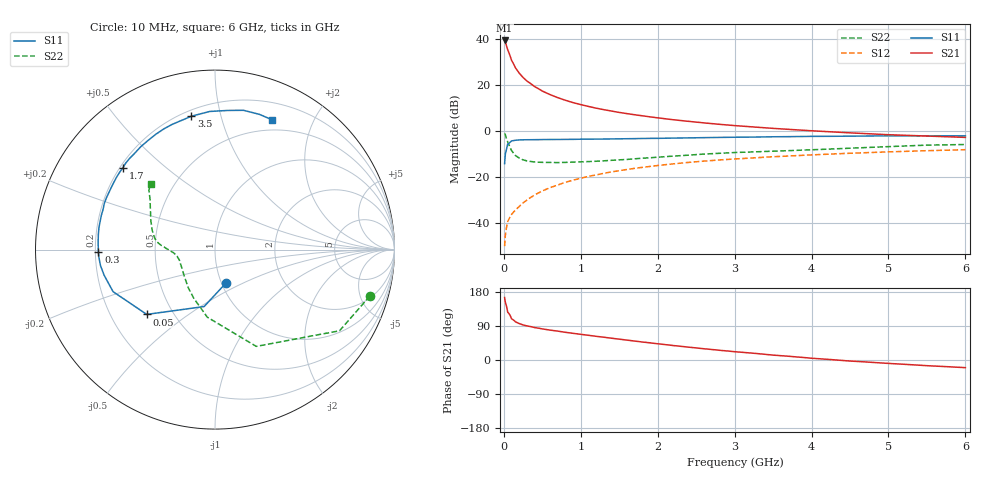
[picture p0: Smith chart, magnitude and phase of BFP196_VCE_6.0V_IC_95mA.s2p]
! Infineon Technologies  Discrete & RF Semiconductors
! BFP196
! VCE =  6.0 V,  IC =  95 mA
! Common Emitter S-Parameters:  Jan 2017
# GHz  S  MA  R  50
!  f  S11  S21  S12  S22
! GHz  MAG  ANG  MAG  ANG  MAG  ANG  MAG  ANG
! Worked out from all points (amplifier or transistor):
!   77 points, 10 MHz to 6 GHz, reference 50 ohm
!   highest |S21| = 39.6 dB at 10 MHz (marker M1)
!   |S21| within 3 dB of that: start of sweep to 40.08 MHz
!   unconditionally stable (mu >= 1): 425.7 MHz to 2.419 GHz
!   at 130 MHz: K = 0.74, MSG = 32.1 dB, |S12| = -35.1 dB
!   at 2.2 GHz: K = 1.01, MAG = 9.0 dB, |S12| = -14.3 dB
!   at 6 GHz: K = 0.95, MSG = 2.7 dB, |S12| = -8.1 dB
!   S11 on the Smith chart (normalised r, x): 10 MHz: 1.05, -0.41; 50 MHz: 0.36, -0.35; 300 MHz: 0.21, -0.01; 1.7 GHz: 0.21, +0.36; 3.5 GHz: 0.23, +0.81; 6 GHz: 0.38, +1.47
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0.01  0.1963 -72.0  95.2 165.0  0.0031 74.8  0.9007 -16.7
0.02  0.3229 -100.8  88.03 152.0  0.0054 71.3  0.8283 -33.1
0.05  0.5244 -136.5  59.73 126.3  0.0106 55.6  0.5862 -66.9
0.1  0.6144 -157.6  35.12 108.7  0.0152 59.4  0.3794 -96.4
0.15  0.634 -167.0  24.24 100.9  0.019 61.0  0.296 -113.5
0.2  0.6441 -172.0  18.43 96.1  0.0228 63.9  0.2589 -125.3
0.25  0.6482 -176.1  14.82 92.5  0.0273 66.0  0.237 -133.4
0.3  0.65 -178.9  12.4 90.0  0.0314 67.4  0.2245 -140.2
0.4  0.6522 176.5  9.371 85.6  0.0405 69.7  0.2128 -149.0
0.5  0.6555 172.5  7.501 82.1  0.0496 69.9  0.2087 -155.2
0.6  0.6581 169.2  6.279 78.9  0.0585 69.6  0.2079 -159.7
0.7  0.6589 166.4  5.388 76.2  0.0669 69.9  0.2067 -163.1
0.8  0.6613 163.3  4.723 73.1  0.0767 69.4  0.2084 -165.6
1.1  0.6702 154.6  3.461 65.2  0.1035 66.0  0.2172 -171.3
1.4  0.6767 146.4  2.746 57.5  0.1295 62.3  0.2313 -175.5
1.7  0.687 138.4  2.28 50.0  0.1545 58.1  0.2495 -178.3
2.1  0.7015 128.3  1.864 40.6  0.1856 52.3  0.2779 177.8
3.1  0.7392 107.2  1.286 20.3  0.2528 38.5  0.3465 168.0
3.5  0.7547 100.0  1.151 12.9  0.2767 33.7  0.3656 163.0
4.1  0.7708 90.7  0.999 3.3  0.3088 26.1  0.3986 154.0
5.1  0.7915 77.1  0.826 -10.1  0.3576 14.4  0.467 141.1
6  0.7903 66.1  0.731 -20.2  0.3947 4.3  0.5121 134.5
